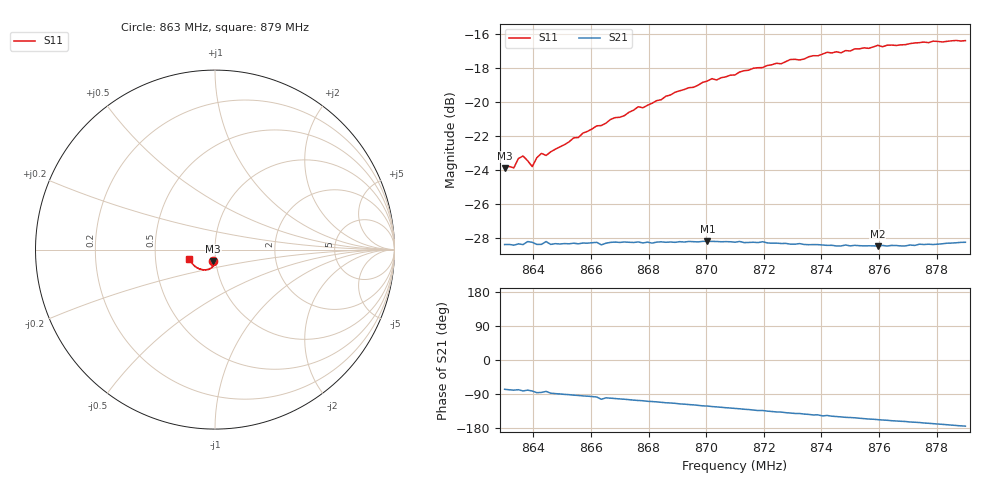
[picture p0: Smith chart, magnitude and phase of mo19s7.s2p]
# HZ S RI R 50
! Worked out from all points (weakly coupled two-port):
!   101 points, 863 MHz to 879 MHz, reference 50 ohm
!   highest |S21| = -28.20 dB at 870.04 MHz (marker M1); lowest = -28.5 dB at 875.96 MHz (marker M2)
!   lowest |S11| = -23.9 dB at 863 MHz (marker M3), VSWR 1.14, Z = 48.6 - j6.15 ohm
!   |S11| at or under -10 dB: start of sweep to end of sweep
!   S12 and S22 are empty: the file has one direction only
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8.63e8  -0.0101 -0.063  0.00835 -0.0371  0 0  0 0
8.6332e8  -0.0108 -0.063  0.00689 -0.0373  0 0  0 0
8.6348e8  -0.0101 -0.0674  0.00767 -0.0375  0 0  0 0
8.6364e8  -0.0127 -0.0681  0.00552 -0.0376  0 0  0 0
8.6396e8  -0.00435 -0.0644  0.00545 -0.0382  0 0  0 0
8.6412e8  -0.00568 -0.0683  0.00251 -0.038  0 0  0 0
8.6428e8  -0.00719 -0.0702  0.003 -0.038  0 0  0 0
8.6444e8  -0.00284 -0.0695  0.00482 -0.0385  0 0  0 0
8.646e8  -0.00638 -0.071  0.00166 -0.0381  0 0  0 0
8.6572e8  -0.00711 -0.0806  -0.0032 -0.0383  0 0  0 0
8.6636e8  -0.00732 -0.0849  -0.00896 -0.0369  0 0  0 0
8.6716e8  -0.0105 -0.0905  -0.00907 -0.0376  0 0  0 0
8.6764e8  -0.0139 -0.0958  -0.0112 -0.0371  0 0  0 0
8.678e8  -0.0138 -0.0951  -0.0116 -0.0367  0 0  0 0
8.6844e8  -0.0178 -0.1  -0.0143 -0.036  0 0  0 0
8.7004e8  -0.0338 -0.1101  -0.0204 -0.0331  0 0  0 0
8.71e8  -0.0448 -0.1113  -0.0237 -0.0306  0 0  0 0
8.7164e8  -0.0529 -0.1139  -0.0259 -0.0287  0 0  0 0
8.7372e8  -0.0818 -0.1096  -0.0311 -0.0218  0 0  0 0
8.7596e8  -0.1125 -0.0942  -0.0347 -0.0145  0 0  0 0
8.7644e8  -0.1181 -0.0874  -0.0356 -0.0128  0 0  0 0
8.79e8  -0.1423 -0.0518  -0.0385 -0.0037  0 0  0 0
